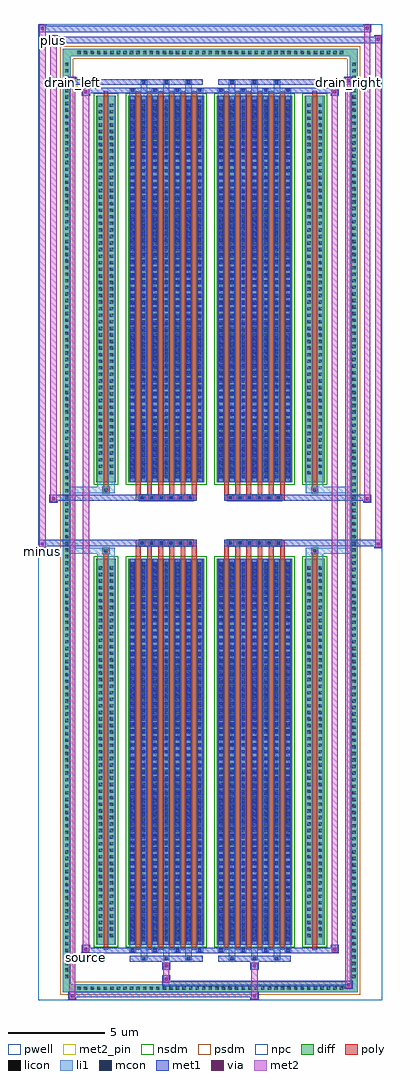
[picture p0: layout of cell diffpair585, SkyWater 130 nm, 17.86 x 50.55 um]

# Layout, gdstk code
import gdstk
lib = gdstk.Library(unit=1e-6, precision=5e-09)
def R(c, l, rs):  # rectangles x0, y0, x1, y1
    for r in rs: c.add(gdstk.rectangle(r[:2], r[2:], *l))
def A(c, l, x, y, w, h, nx, ny, dx, dy):  # array of equal rectangles
    R(c, l, [(x+i*dx, y+j*dy, x+i*dx+w, y+j*dy+h) for i in range(nx) for j in range(ny)])
def P(c, l, *ps):  # polygons
    for p in ps: c.add(gdstk.Polygon(p, *l))
pwell = (64, 44)
diff = (65, 20)
poly = (66, 20)
licon = (66, 44)
li1 = (67, 20)
mcon = (67, 44)
met1 = (68, 20)
via = (68, 44)
met2_pin = (69, 16)
met2 = (69, 20)
nsdm = (93, 44)
psdm = (94, 20)
npc = (95, 20)

diffpair585 = lib.new_cell('diffpair585')
R(diffpair585, pwell, [(-8.91,-24.84,8.91,25.71), (-6.23,-23.03,-0.01,-0.805), (0.01,-23.03,6.23,-0.805), (-6.23,0.805,-0.01,23.03), (0.01,0.805,6.23,23.03)])
A(diffpair585, diff, -7.005, -24.44, 0.41, 0.41, 41, 2, 0.34, 48.47)
A(diffpair585, diff, -7.64, -23.835, 0.41, 0.41, 1, 140, 0, 0.34)
A(diffpair585, diff, 7.23, -23.835, 0.41, 0.41, 1, 140, 0, 0.34)
R(diffpair585, diff, [(-7.005,-24.44,7.005,-24.03), (-7.64,-23.835,-7.23,23.835), (7.23,-23.835,7.64,23.835), (-5.92,-21.985,-4.89,-1.985), (-4.25,-21.985,-0.32,-1.985), (0.32,-21.985,4.25,-1.985), (4.89,-21.985,5.92,-1.985), (-5.92,1.985,-4.89,21.985), (-4.25,1.985,-0.32,21.985), (0.32,1.985,4.25,21.985), (4.89,1.985,5.92,21.985), (-7.005,24.03,7.005,24.44)])
P(diffpair585, diff, [(7.64,24.44),(-7.64,24.44),(-7.64,-24.03),(-7.23,-24.03),(-7.23,24.03),(7.23,24.03),(7.23,-24.03),(-7.23,-24.03),(-7.64,-24.03),(-7.64,-24.44),(7.64,-24.44)])
A(diffpair585, poly, -3.86, -22.235, 0.25, 20.5, 6, 2, 0.58, 23.97)
A(diffpair585, poly, 0.71, -22.235, 0.25, 20.5, 6, 2, 0.58, 23.97)
A(diffpair585, poly, -3.86, -1.735, 0.25, 0.4, 6, 2, 0.58, 3.07)
A(diffpair585, poly, 0.71, -1.735, 0.25, 0.4, 6, 2, 0.58, 3.07)
A(diffpair585, poly, -3.7, -1.335, 0.33, 0.33, 6, 2, 0.5, 2.34)
A(diffpair585, poly, 0.87, -1.335, 0.33, 0.33, 6, 2, 0.5, 2.34)
R(diffpair585, poly, [(-5.53,-22.235,-5.28,-1.735), (5.28,-22.235,5.53,-1.735), (-5.57,-1.735,-5.24,-1.405), (-5.57,-1.735,-5.24,-1.405), (5.24,-1.735,5.57,-1.405), (5.24,-1.735,5.57,-1.405), (-3.86,-1.335,-0.71,-1.005), (0.71,-1.335,3.86,-1.005), (-3.86,1.005,-0.71,1.335), (0.71,1.005,3.86,1.335), (-5.57,1.405,-5.24,1.735), (-5.57,1.405,-5.24,1.735), (5.24,1.405,5.57,1.735), (5.24,1.405,5.57,1.735), (-5.53,1.735,-5.28,22.235), (5.28,1.735,5.53,22.235)])
A(diffpair585, licon, -6.885, -24.32, 0.17, 0.17, 41, 2, 0.34, 48.47)
A(diffpair585, licon, -7.52, -23.715, 0.17, 0.17, 1, 140, 0, 0.34)
A(diffpair585, licon, 7.35, -23.715, 0.17, 0.17, 1, 140, 0, 0.34)
A(diffpair585, licon, -5.78, -21.59, 0.17, 0.17, 1, 57, 0, 0.34)
A(diffpair585, licon, -5.2, -21.59, 0.17, 0.17, 1, 57, 0, 0.34)
A(diffpair585, licon, -4.11, -21.59, 0.17, 0.17, 7, 57, 0.58, 0.34)
A(diffpair585, licon, 0.46, -21.59, 0.17, 0.17, 7, 57, 0.58, 0.34)
A(diffpair585, licon, 5.03, -21.59, 0.17, 0.17, 1, 57, 0, 0.34)
A(diffpair585, licon, 5.61, -21.59, 0.17, 0.17, 1, 57, 0, 0.34)
A(diffpair585, licon, -3.62, -1.255, 0.17, 0.17, 6, 2, 0.5, 2.34)
A(diffpair585, licon, 0.95, -1.255, 0.17, 0.17, 6, 2, 0.5, 2.34)
A(diffpair585, licon, -5.78, 2.38, 0.17, 0.17, 1, 57, 0, 0.34)
A(diffpair585, licon, -5.2, 2.38, 0.17, 0.17, 1, 57, 0, 0.34)
A(diffpair585, licon, -4.11, 2.38, 0.17, 0.17, 7, 57, 0.58, 0.34)
A(diffpair585, licon, 0.46, 2.38, 0.17, 0.17, 7, 57, 0.58, 0.34)
A(diffpair585, licon, 5.03, 2.38, 0.17, 0.17, 1, 57, 0, 0.34)
A(diffpair585, licon, 5.61, 2.38, 0.17, 0.17, 1, 57, 0, 0.34)
R(diffpair585, licon, [(-5.49,-1.655,-5.32,-1.485), (5.32,-1.655,5.49,-1.485), (-5.49,1.485,-5.32,1.655), (5.32,1.485,5.49,1.655)])
A(diffpair585, li1, -6.965, -24.4, 0.33, 0.33, 41, 2, 0.34, 48.47)
A(diffpair585, li1, -7.6, -23.795, 0.33, 0.33, 1, 140, 0, 0.34)
A(diffpair585, li1, 7.27, -23.795, 0.33, 0.33, 1, 140, 0, 0.34)
A(diffpair585, li1, -3.61, -22.79, 0.33, 0.805, 3, 2, 1.16, 44.775)
A(diffpair585, li1, -3.53, -22.79, 0.17, 0.17, 3, 2, 1.16, 45.41)
A(diffpair585, li1, 0.96, -22.79, 0.33, 0.805, 3, 2, 1.16, 44.775)
A(diffpair585, li1, 1.04, -22.79, 0.17, 0.17, 3, 2, 1.16, 45.41)
A(diffpair585, li1, -4.19, -22.36, 0.33, 0.375, 4, 2, 1.16, 44.345)
A(diffpair585, li1, -4.11, -22.36, 0.17, 0.17, 4, 2, 1.16, 44.55)
A(diffpair585, li1, 0.38, -22.36, 0.33, 0.375, 4, 2, 1.16, 44.345)
A(diffpair585, li1, 0.46, -22.36, 0.17, 0.17, 4, 2, 1.16, 44.55)
A(diffpair585, li1, -4.19, -21.985, 0.33, 20, 7, 2, 0.58, 23.97)
A(diffpair585, li1, 0.38, -21.985, 0.33, 20, 7, 2, 0.58, 23.97)
A(diffpair585, li1, -4.11, -21.79, 0.17, 0.17, 7, 55, 0.58, 0.36)
A(diffpair585, li1, -4.11, -21.79, 0.17, 19.61, 7, 2, 0.58, 23.97)
A(diffpair585, li1, 0.46, -21.79, 0.17, 0.17, 7, 55, 0.58, 0.36)
A(diffpair585, li1, 0.46, -21.79, 0.17, 19.61, 7, 2, 0.58, 23.97)
A(diffpair585, li1, -5.86, -21.67, 0.33, 0.33, 1, 57, 0, 0.34)
A(diffpair585, li1, -5.28, -21.67, 0.33, 0.33, 1, 57, 0, 0.34)
A(diffpair585, li1, -4.19, -21.67, 0.33, 0.33, 7, 57, 0.58, 0.34)
A(diffpair585, li1, 0.38, -21.67, 0.33, 0.33, 7, 57, 0.58, 0.34)
A(diffpair585, li1, 4.95, -21.67, 0.33, 0.33, 1, 57, 0, 0.34)
A(diffpair585, li1, 5.53, -21.67, 0.33, 0.33, 1, 57, 0, 0.34)
A(diffpair585, li1, -3.7, -1.335, 0.33, 0.33, 6, 2, 0.5, 2.34)
A(diffpair585, li1, 0.87, -1.335, 0.33, 0.33, 6, 2, 0.5, 2.34)
A(diffpair585, li1, -4.11, 2.18, 0.17, 0.17, 7, 55, 0.58, 0.36)
A(diffpair585, li1, 0.46, 2.18, 0.17, 0.17, 7, 55, 0.58, 0.36)
A(diffpair585, li1, -5.86, 2.3, 0.33, 0.33, 1, 57, 0, 0.34)
A(diffpair585, li1, -5.28, 2.3, 0.33, 0.33, 1, 57, 0, 0.34)
A(diffpair585, li1, -4.19, 2.3, 0.33, 0.33, 7, 57, 0.58, 0.34)
A(diffpair585, li1, 0.38, 2.3, 0.33, 0.33, 7, 57, 0.58, 0.34)
A(diffpair585, li1, 4.95, 2.3, 0.33, 0.33, 1, 57, 0, 0.34)
A(diffpair585, li1, 5.53, 2.3, 0.33, 0.33, 1, 57, 0, 0.34)
R(diffpair585, li1, [(-7.64,-24.44,-7.23,-24.03), (-7.64,-24.44,-7.23,-24.03), (-7.23,-24.44,7.23,-24.03), (7.23,-24.44,7.64,-24.03), (7.23,-24.44,7.64,-24.03), (-7.64,-24.03,-7.23,24.03), (7.23,-24.03,7.64,24.03), (-5.86,-21.985,-5.53,-1.985), (-5.28,-21.985,-4.95,-1.985), (4.95,-21.985,5.28,-1.985), (5.53,-21.985,5.86,-1.985), (-5.86,-1.985,-5.53,-1.405), (-5.28,-1.985,-4.95,-1.405), (4.95,-1.985,5.28,-1.405), (5.53,-1.985,5.86,-1.405), (-7.64,-1.735,-5.57,-1.405), (-5.86,-1.735,-5.57,-1.405), (-5.57,-1.735,-5.24,-1.405), (-5.24,-1.735,-4.95,-1.405), (4.95,-1.735,5.24,-1.405), (5.24,-1.735,5.57,-1.405), (5.24,-1.735,7.64,-1.405), (5.57,-1.735,5.86,-1.405), (-7.64,1.405,-5.57,1.735), (-5.86,1.405,-5.57,1.735), (-5.86,1.405,-5.53,1.985), (-5.57,1.405,-5.24,1.735), (-5.28,1.405,-4.95,1.985), (-5.24,1.405,-4.95,1.735), (4.95,1.405,5.24,1.735), (4.95,1.405,5.28,1.985), (5.24,1.405,5.57,1.735), (5.24,1.405,7.64,1.735), (5.53,1.405,5.86,1.985), (5.57,1.405,5.86,1.735), (-5.86,1.985,-5.53,21.985), (-5.28,1.985,-4.95,21.985), (4.95,1.985,5.28,21.985), (5.53,1.985,5.86,21.985), (-7.64,24.03,-7.23,24.44), (-7.64,24.03,-7.23,24.44), (-7.23,24.03,7.23,24.44), (7.23,24.03,7.64,24.44), (7.23,24.03,7.64,24.44)])
A(diffpair585, mcon, -3.53, -22.79, 0.17, 0.17, 3, 2, 1.16, 45.41)
A(diffpair585, mcon, 1.04, -22.79, 0.17, 0.17, 3, 2, 1.16, 45.41)
A(diffpair585, mcon, -4.11, -22.36, 0.17, 0.17, 4, 2, 1.16, 44.55)
A(diffpair585, mcon, 0.46, -22.36, 0.17, 0.17, 4, 2, 1.16, 44.55)
A(diffpair585, mcon, -4.11, -21.79, 0.17, 0.17, 7, 55, 0.58, 0.36)
A(diffpair585, mcon, 0.46, -21.79, 0.17, 0.17, 7, 55, 0.58, 0.36)
A(diffpair585, mcon, -3.62, -1.255, 0.17, 0.17, 6, 2, 0.5, 2.34)
A(diffpair585, mcon, 0.95, -1.255, 0.17, 0.17, 6, 2, 0.5, 2.34)
A(diffpair585, mcon, -4.11, 2.18, 0.17, 0.17, 7, 55, 0.58, 0.36)
A(diffpair585, mcon, 0.46, 2.18, 0.17, 0.17, 7, 55, 0.58, 0.36)
A(diffpair585, met1, -3.59, -22.85, 0.29, 0.29, 3, 2, 1.16, 45.41)
A(diffpair585, met1, 0.98, -22.85, 0.29, 0.29, 3, 2, 1.16, 45.41)
A(diffpair585, met1, -4.17, -22.42, 0.29, 0.29, 4, 2, 1.16, 44.55)
A(diffpair585, met1, 0.4, -22.42, 0.29, 0.29, 4, 2, 1.16, 44.55)
A(diffpair585, met1, -4.17, -21.985, 0.29, 20, 7, 2, 0.58, 23.97)
A(diffpair585, met1, 0.4, -21.985, 0.29, 20, 7, 2, 0.58, 23.97)
A(diffpair585, met1, -4.17, -21.85, 0.29, 0.29, 7, 55, 0.58, 0.36)
A(diffpair585, met1, 0.4, -21.85, 0.29, 0.29, 7, 55, 0.58, 0.36)
A(diffpair585, met1, -3.68, -1.315, 0.29, 0.29, 6, 2, 0.5, 2.34)
A(diffpair585, met1, 0.89, -1.315, 0.29, 0.29, 6, 2, 0.5, 2.34)
A(diffpair585, met1, -4.17, 2.12, 0.29, 0.29, 7, 55, 0.58, 0.36)
A(diffpair585, met1, 0.4, 2.12, 0.29, 0.29, 7, 55, 0.58, 0.36)
R(diffpair585, met1, [(-7.37,-24.84,-6.94,-24.41), (2.07,-24.84,2.5,-24.41), (-7.37,-24.7,2.5,-24.41), (6.94,-24.27,7.37,-23.84), (-2.5,-24.13,7.37,-23.84), (-2.5,-23.99,-2.07,-23.56), (-2.5,-23.28,-2.07,-22.85), (2.07,-23.28,2.5,-22.85), (-4.17,-22.85,-0.4,-22.56), (0.4,-22.85,4.17,-22.56), (-6.66,-22.42,-6.23,-21.99), (-6.66,-22.42,-4.17,-22.13), (-4.17,-22.42,-0.4,-22.13), (-0.4,-22.42,0.4,-22.13), (0.4,-22.42,4.17,-22.13), (4.17,-22.42,6.66,-22.13), (6.23,-22.42,6.66,-21.99), (-8.91,-1.435,-8.48,-1.005), (8.48,-1.435,8.91,-1.005), (-8.91,-1.335,-0.71,-1.005), (-3.86,-1.335,-0.71,-1.005), (0.71,-1.335,3.86,-1.005), (0.71,-1.335,8.91,-1.005), (-8.34,0.905,-7.91,1.335), (7.91,0.905,8.34,1.335), (-8.34,1.005,-3.86,1.335), (-3.86,1.005,-0.71,1.335), (0.71,1.005,3.86,1.335), (3.86,1.005,8.34,1.335), (-6.66,21.99,-6.23,22.42), (6.23,21.99,6.66,22.42), (-6.66,22.13,-4.17,22.42), (-4.17,22.13,-0.4,22.42), (-0.4,22.13,0.4,22.42), (0.4,22.13,4.17,22.42), (4.17,22.13,6.66,22.42), (-7.37,22.56,-6.94,22.99), (-7.37,22.56,-4.17,22.85), (-4.17,22.56,-0.4,22.85), (0.4,22.56,4.17,22.85), (4.17,22.56,7.37,22.85), (6.94,22.56,7.37,22.99), (-8.34,24.71,-7.91,25.14), (-8.34,24.71,-6.23,25.04), (-6.23,24.71,6.23,25.04), (6.23,24.71,8.91,25.04), (8.48,24.71,8.91,25.14), (-8.91,25.28,-8.48,25.71), (-8.91,25.28,-6.23,25.61), (-6.23,25.28,6.23,25.61), (6.23,25.28,8.34,25.61), (7.91,25.28,8.34,25.71)])
R(diffpair585, via, [(-7.23,-24.7,-7.08,-24.55), (2.21,-24.7,2.36,-24.55), (7.08,-24.13,7.23,-23.98), (-2.36,-23.85,-2.21,-23.7), (-2.36,-23.14,-2.21,-22.99), (2.21,-23.14,2.36,-22.99), (-6.52,-22.28,-6.37,-22.13), (6.37,-22.28,6.52,-22.13), (-8.77,-1.295,-8.62,-1.145), (8.62,-1.295,8.77,-1.145), (-8.2,1.045,-8.05,1.195), (8.05,1.045,8.2,1.195), (-6.52,22.13,-6.37,22.28), (6.37,22.13,6.52,22.28), (-7.23,22.7,-7.08,22.85), (7.08,22.7,7.23,22.85), (-8.2,24.85,-8.05,25), (8.62,24.85,8.77,25), (-8.77,25.42,-8.62,25.57), (8.05,25.42,8.2,25.57)])
R(diffpair585, met2_pin, [(-6.695,-22.87,-6.195,-22.37), (-8.945,-1.885,-8.445,-1.385), (-7.405,22.44,-6.905,22.94), (6.905,22.44,7.405,22.94), (-8.375,24.59,-7.875,25.09)])
R(diffpair585, met2, [(-7.32,-24.79,-6.99,-24.46), (-7.32,-24.79,-6.99,22.94), (2.12,-24.79,2.45,-24.46), (2.12,-24.46,2.45,-23.23), (6.99,-24.22,7.32,-23.89), (6.99,-24.22,7.32,22.94), (-2.45,-23.94,-2.12,-23.61), (-2.45,-23.61,-2.12,-23.23), (-2.45,-23.23,-2.12,-22.9), (2.12,-23.23,2.45,-22.9), (-6.61,-22.37,-6.28,-22.04), (-6.61,-22.37,-6.28,22.37), (6.28,-22.37,6.61,-22.04), (6.28,-22.37,6.61,22.37), (-8.86,-1.385,-8.53,-1.055), (-8.86,-1.385,-8.53,25.66), (8.53,-1.385,8.86,-1.055), (8.53,-1.385,8.86,25.09), (-8.29,0.955,-7.96,1.285), (-8.29,0.955,-7.96,25.09), (7.96,0.955,8.29,1.285), (7.96,0.955,8.29,25.66), (-6.61,22.04,-6.28,22.37), (6.28,22.04,6.61,22.37), (-7.32,22.61,-6.99,22.94), (6.99,22.61,7.32,22.94), (-8.29,24.76,-7.96,25.09), (8.53,24.76,8.86,25.09), (-8.86,25.33,-8.53,25.66), (7.96,25.33,8.29,25.66)])
P(diffpair585, met2, [(8.86,-1.385),(8.86,-1.385),(8.86,-1.055),(8.86,-1.055)],
  [(8.86,24.76),(8.86,24.76),(8.86,25.09),(8.86,25.09)],
  [(-8.53,-1.385),(-8.53,-1.385),(-8.53,-1.055),(-8.53,-1.055)],
  [(-8.53,25.33),(-8.53,25.33),(-8.53,25.66),(-8.53,25.66)],
  [(8.29,0.955),(8.29,0.955),(8.29,1.285),(8.29,1.285)],
  [(8.29,25.33),(8.29,25.33),(8.29,25.66),(8.29,25.66)],
  [(-7.96,0.955),(-7.96,0.955),(-7.96,1.285),(-7.96,1.285)],
  [(-7.96,24.76),(-7.96,24.76),(-7.96,25.09),(-7.96,25.09)],
  [(-6.99,-24.79),(-6.99,-24.79),(-6.99,-24.46),(-6.99,-24.46)],
  [(-6.99,22.61),(-6.99,22.61),(-6.99,22.94),(-6.99,22.94)],
  [(7.32,-24.22),(7.32,-24.22),(7.32,-23.89),(7.32,-23.89)],
  [(7.32,22.61),(7.32,22.61),(7.32,22.94),(7.32,22.94)],
  [(-6.28,-22.37),(-6.28,-22.37),(-6.28,-22.04),(-6.28,-22.04)],
  [(-6.28,22.04),(-6.28,22.04),(-6.28,22.37),(-6.28,22.37)],
  [(6.61,-22.37),(6.61,-22.37),(6.61,-22.04),(6.61,-22.04)],
  [(6.61,22.04),(6.61,22.04),(6.61,22.37),(6.61,22.37)])
R(diffpair585, nsdm, [(-6.05,-22.115,-4.76,-1.855), (-4.38,-22.115,-0.19,-1.855), (0.19,-22.115,4.38,-1.855), (4.76,-22.115,6.05,-1.855), (-6.05,1.855,-4.76,22.115), (-4.38,1.855,-0.19,22.115), (0.19,1.855,4.38,22.115), (4.76,1.855,6.05,22.115)])
P(diffpair585, psdm, [(7.77,24.57),(-7.77,24.57),(-7.77,-23.9),(-7.1,-23.9),(-7.1,23.9),(7.1,23.9),(7.1,-23.9),(-7.1,-23.9),(-7.77,-23.9),(-7.77,-24.57),(7.77,-24.57)])
A(diffpair585, npc, -3.72, -1.355, 0.37, 0.37, 6, 2, 0.5, 2.34)
A(diffpair585, npc, 0.85, -1.355, 0.37, 0.37, 6, 2, 0.5, 2.34)
R(diffpair585, npc, [(-5.59,-1.755,-5.22,-1.385), (5.22,-1.755,5.59,-1.385), (-3.72,-1.355,-2.85,-0.985), (-3.72,-1.355,-2.85,-0.985), (-3.22,-1.355,-2.35,-0.985), (-3.22,-1.355,-2.35,-0.985), (-2.72,-1.355,-1.85,-0.985), (-2.72,-1.355,-1.85,-0.985), (-2.22,-1.355,-1.35,-0.985), (-2.22,-1.355,-1.35,-0.985), (-1.72,-1.355,-0.85,-0.985), (-1.72,-1.355,-0.85,-0.985), (0.85,-1.355,1.72,-0.985), (0.85,-1.355,1.72,-0.985), (1.35,-1.355,2.22,-0.985), (1.35,-1.355,2.22,-0.985), (1.85,-1.355,2.72,-0.985), (1.85,-1.355,2.72,-0.985), (2.35,-1.355,3.22,-0.985), (2.35,-1.355,3.22,-0.985), (2.85,-1.355,3.72,-0.985), (2.85,-1.355,3.72,-0.985), (-3.72,0.985,-2.85,1.355), (-3.72,0.985,-2.85,1.355), (-3.22,0.985,-2.35,1.355), (-3.22,0.985,-2.35,1.355), (-2.72,0.985,-1.85,1.355), (-2.72,0.985,-1.85,1.355), (-2.22,0.985,-1.35,1.355), (-2.22,0.985,-1.35,1.355), (-1.72,0.985,-0.85,1.355), (-1.72,0.985,-0.85,1.355), (0.85,0.985,1.72,1.355), (0.85,0.985,1.72,1.355), (1.35,0.985,2.22,1.355), (1.35,0.985,2.22,1.355), (1.85,0.985,2.72,1.355), (1.85,0.985,2.72,1.355), (2.35,0.985,3.22,1.355), (2.35,0.985,3.22,1.355), (2.85,0.985,3.72,1.355), (2.85,0.985,3.72,1.355), (-5.59,1.385,-5.22,1.755), (5.22,1.385,5.59,1.755)])
diffpair585.add(gdstk.Label('minus', (-8.695,-1.635), layer=69, texttype=5))
diffpair585.add(gdstk.Label('drain_right', (7.155,22.69), layer=69, texttype=5))
diffpair585.add(gdstk.Label('drain_left', (-7.155,22.69), layer=69, texttype=5))
diffpair585.add(gdstk.Label('source', (-6.445,-22.62), layer=69, texttype=5))
diffpair585.add(gdstk.Label('plus', (-8.125,24.84), layer=69, texttype=5))

lib.write_gds('diffpair585.gds')
